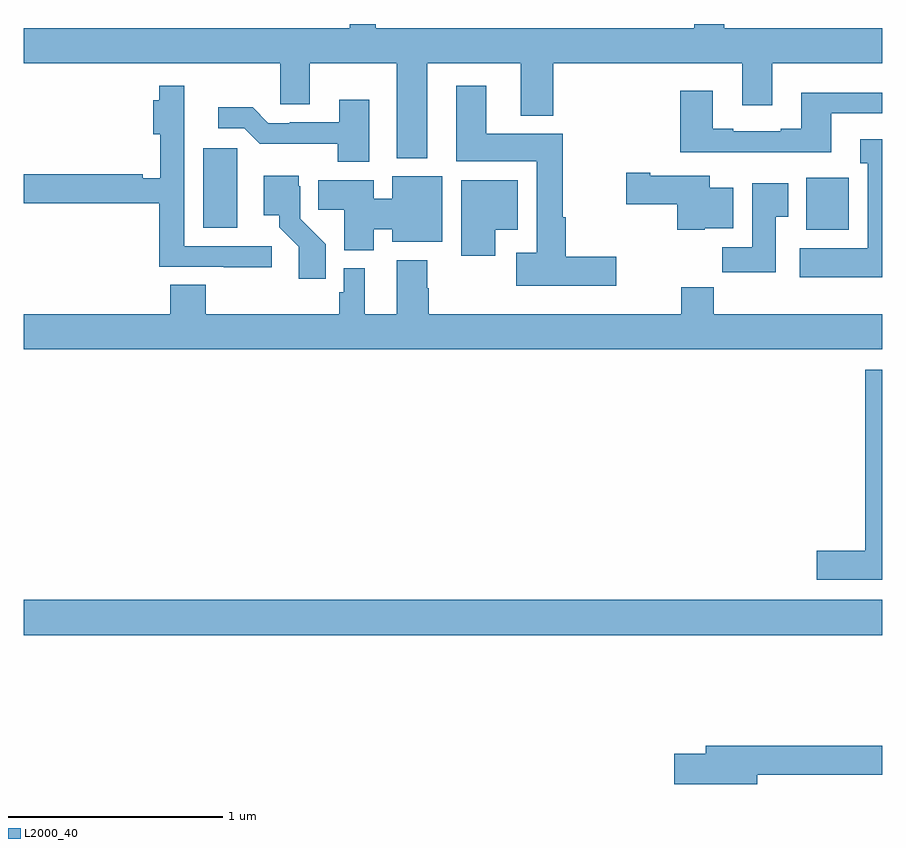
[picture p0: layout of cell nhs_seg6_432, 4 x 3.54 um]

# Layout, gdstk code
import gdstk
lib = gdstk.Library(unit=1e-6, precision=1e-09)
def R(c, l, rs):  # rectangles x0, y0, x1, y1
    for r in rs: c.add(gdstk.rectangle(r[:2], r[2:], *l))
def P(c, l, *ps):  # polygons
    for p in ps: c.add(gdstk.Polygon(p, *l))
L2000_40 = (2000, 40)

nhs_seg6_432 = lib.new_cell('nhs_seg6_432')
R(nhs_seg6_432, L2000_40, [(135,964.652,139,964.816), (138.647,966.542,138.844,966.784), (135.836,966.55,135.994,966.921)])
P(nhs_seg6_432, L2000_40, [(136.879,967.316),(137.315,967.316),(137.315,967.073),(137.468,967.073),(137.468,967.316),(138.347,967.316),(138.347,967.122),(138.487,967.122),(138.487,967.316),(139,967.316),(139,967.48),(138.264,967.48),(138.264,967.5),(138.125,967.5),(138.125,967.48),(136.639,967.48),(136.639,967.5),(136.518,967.5),(136.518,967.48),(135,967.48),(135,967.316),(136.194,967.316),(136.194,967.126),(136.333,967.126),(136.333,967.316),(136.739,967.316),(136.739,966.875),(136.879,966.875)],
  [(137.761,966.416),(137.525,966.416),(137.525,966.599),(137.512,966.599),(137.512,966.988),(137.155,966.988),(137.155,967.213),(137.015,967.213),(137.015,966.86),(137.39,966.86),(137.39,966.433),(137.295,966.433),(137.295,966.281),(137.761,966.281)],
  [(136.156,966.465),(135.747,966.465),(135.747,966.99),(135.748,966.99),(135.748,967.213),(135.631,967.213),(135.631,967.144),(135.602,967.144),(135.602,966.986),(135.635,966.986),(135.635,966.782),(135.554,966.782),(135.554,966.8),(135,966.8),(135,966.664),(135.631,966.664),(135.631,966.369),(135.931,966.369),(135.931,966.367),(136.156,966.367)],
  [(138.763,967.083),(139,967.083),(139,967.18),(138.623,967.18),(138.623,967.012),(138.527,967.012),(138.527,966.999),(138.307,966.999),(138.307,967.012),(138.211,967.012),(138.211,967.189),(138.059,967.189),(138.059,966.902),(138.763,966.902)],
  [(136.609,967.147),(136.469,967.147),(136.469,967.041),(136.24,967.041),(136.24,967.038),(136.14,967.038),(136.067,967.111),(135.906,967.111),(135.906,967.014),(136.026,967.014),(136.099,966.942),(136.462,966.942),(136.462,966.857),(136.609,966.857)],
  [(139,966.964),(138.899,966.964),(138.899,966.851),(138.932,966.851),(138.932,966.454),(138.615,966.454),(138.615,966.32),(139,966.32)],
  [(138.174,966.548),(138.307,966.548),(138.307,966.736),(138.196,966.736),(138.196,966.793),(137.92,966.793),(137.92,966.806),(137.808,966.806),(137.808,966.659),(138.044,966.659),(138.044,966.542),(138.174,966.542)],
  [(136.406,966.474),(136.287,966.593),(136.287,966.744),(136.282,966.744),(136.282,966.793),(136.118,966.793),(136.118,966.608),(136.19,966.608),(136.19,966.553),(136.281,966.463),(136.281,966.312),(136.406,966.312)],
  [(136.63,966.544),(136.718,966.544),(136.718,966.485),(136.951,966.485),(136.951,966.79),(136.718,966.79),(136.718,966.686),(136.63,966.686),(136.63,966.772),(136.372,966.772),(136.372,966.634),(136.493,966.634),(136.493,966.446),(136.63,966.446)],
  [(137.197,966.542),(137.302,966.542),(137.302,966.772),(137.039,966.772),(137.039,966.42),(137.197,966.42)],
  [(138.505,966.601),(138.562,966.601),(138.562,966.757),(138.395,966.757),(138.395,966.46),(138.256,966.46),(138.256,966.342),(138.505,966.342)],
  [(139,966.148),(138.215,966.148),(138.215,966.272),(138.064,966.272),(138.064,966.148),(136.887,966.148),(136.887,966.269),(136.879,966.269),(136.879,966.4),(136.739,966.4),(136.739,966.148),(136.588,966.148),(136.588,966.361),(136.491,966.361),(136.491,966.249),(136.471,966.249),(136.471,966.148),(135.848,966.148),(135.848,966.284),(135.683,966.284),(135.683,966.148),(135,966.148),(135,965.984),(139,965.984)],
  [(139,965.889),(138.922,965.889),(138.922,965.045),(138.696,965.045),(138.696,964.91),(139,964.91)],
  [(138.418,964),(139,964),(139,964.136),(138.179,964.136),(138.179,964.1),(138.03,964.1),(138.03,963.958),(138.418,963.958)])

lib.write_gds('nhs_seg6_432.gds')
